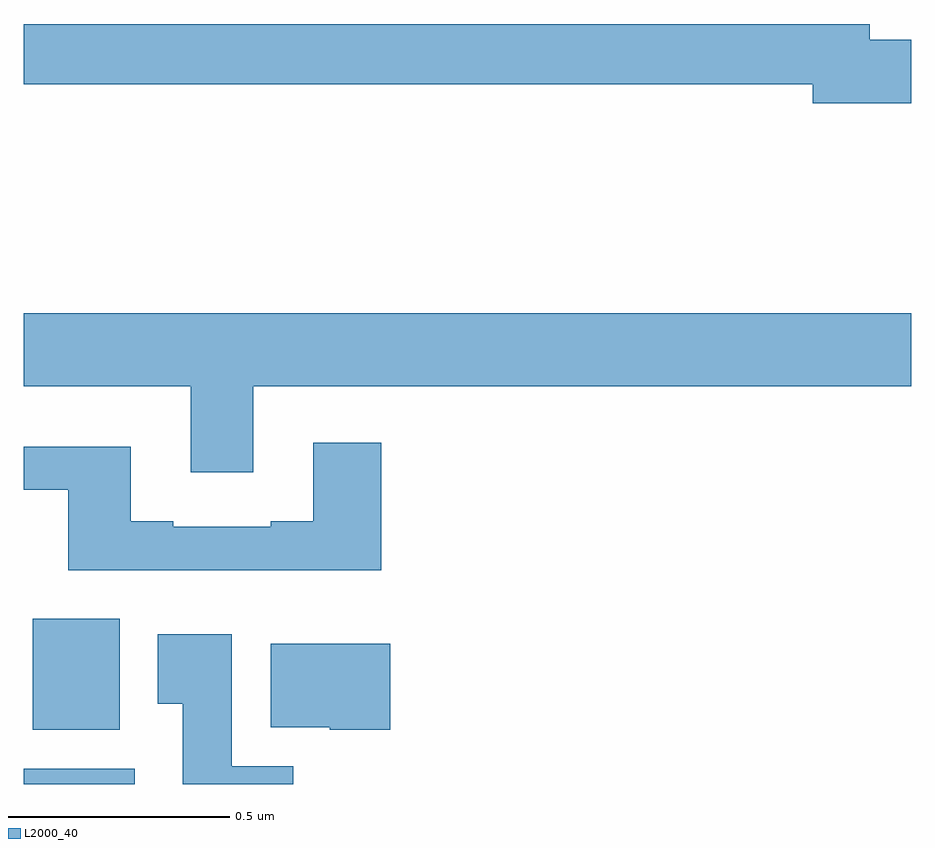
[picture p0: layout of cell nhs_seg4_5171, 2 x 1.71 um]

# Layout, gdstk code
import gdstk
lib = gdstk.Library(unit=1e-6, precision=1e-09)
def R(c, l, rs):  # rectangles x0, y0, x1, y1
    for r in rs: c.add(gdstk.rectangle(r[:2], r[2:], *l))
def P(c, l, *ps):  # polygons
    for p in ps: c.add(gdstk.Polygon(p, *l))
L2000_40 = (2000, 40)

nhs_seg4_5171 = lib.new_cell('nhs_seg4_5171')
R(nhs_seg4_5171, L2000_40, [(174,819.9,174.25,819.934), (174.021,820.022,174.217,820.272)])
P(nhs_seg4_5171, L2000_40, [(176,821.576),(175.906,821.576),(175.906,821.612),(174,821.612),(174,821.476),(175.778,821.476),(175.778,821.434),(176,821.434)],
  [(174,820.796),(174.377,820.796),(174.377,820.602),(174.517,820.602),(174.517,820.796),(176,820.796),(176,820.96),(174,820.96)],
  [(174.806,820.669),(174.653,820.669),(174.653,820.492),(174.557,820.492),(174.557,820.479),(174.337,820.479),(174.337,820.492),(174.241,820.492),(174.241,820.66),(174,820.66),(174,820.563),(174.101,820.563),(174.101,820.382),(174.806,820.382)],
  [(174.608,819.94),(174.469,819.94),(174.469,820.237),(174.302,820.237),(174.302,820.081),(174.359,820.081),(174.359,819.9),(174.608,819.9)],
  [(174.826,820.216),(174.557,820.216),(174.557,820.028),(174.69,820.028),(174.69,820.022),(174.826,820.022)])

lib.write_gds('nhs_seg4_5171.gds')
